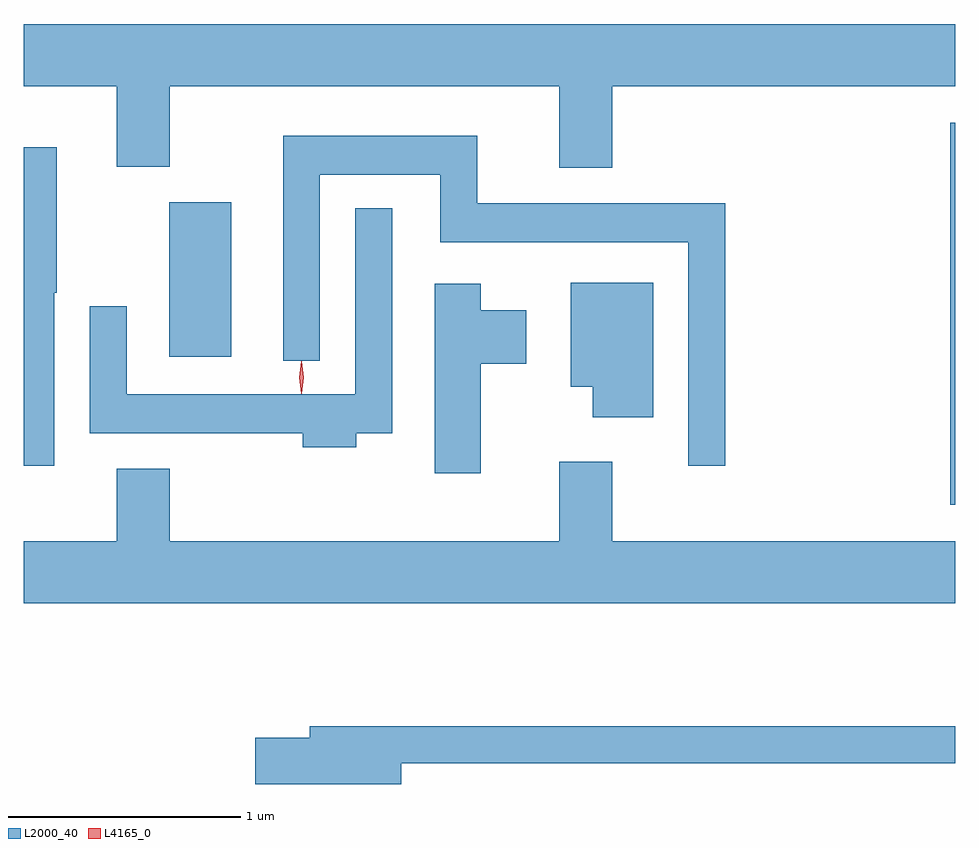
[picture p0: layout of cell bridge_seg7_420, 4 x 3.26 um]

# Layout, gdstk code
import gdstk
lib = gdstk.Library(unit=1e-6, precision=1e-09)
def R(c, l, rs):  # rectangles x0, y0, x1, y1
    for r in rs: c.add(gdstk.rectangle(r[:2], r[2:], *l))
def P(c, l, *ps):  # polygons
    for p in ps: c.add(gdstk.Polygon(p, *l))
L2000_40 = (2000, 40)
L4165_0 = (4165, 0)

bridge_seg7_420 = lib.new_cell('bridge_seg7_420')
R(bridge_seg7_420, L2000_40, [(1151.761,1712.521,1151.782,1714.159), (1148.406,1713.156,1148.674,1713.819)])
P(bridge_seg7_420, L2000_40, [(1150.309,1714.316),(1151.782,1714.316),(1151.782,1714.584),(1147.782,1714.584),(1147.782,1714.316),(1148.181,1714.316),(1148.181,1713.971),(1148.409,1713.971),(1148.409,1714.316),(1150.081,1714.316),(1150.081,1713.966),(1150.309,1713.966)],
  [(1150.794,1713.814),(1149.729,1713.814),(1149.729,1714.104),(1148.896,1714.104),(1148.896,1713.138),(1149.054,1713.138),(1149.054,1713.936),(1149.571,1713.936),(1149.571,1713.646),(1150.636,1713.646),(1150.636,1712.688),(1150.794,1712.688)],
  [(1147.914,1713.43),(1147.924,1713.43),(1147.924,1714.054),(1147.782,1714.054),(1147.782,1712.688),(1147.914,1712.688)],
  [(1149.209,1712.826),(1149.364,1712.826),(1149.364,1713.793),(1149.206,1713.793),(1149.206,1712.994),(1148.224,1712.994),(1148.224,1713.373),(1148.066,1713.373),(1148.066,1712.826),(1148.981,1712.826),(1148.981,1712.766),(1149.209,1712.766)],
  [(1150.484,1713.474),(1150.131,1713.474),(1150.131,1713.026),(1150.226,1713.026),(1150.226,1712.896),(1150.484,1712.896)],
  [(1149.744,1713.126),(1149.939,1713.126),(1149.939,1713.354),(1149.744,1713.354),(1149.744,1713.469),(1149.546,1713.469),(1149.546,1712.656),(1149.744,1712.656)],
  [(1151.782,1712.364),(1150.309,1712.364),(1150.309,1712.704),(1150.081,1712.704),(1150.081,1712.364),(1148.409,1712.364),(1148.409,1712.674),(1148.181,1712.674),(1148.181,1712.364),(1147.782,1712.364),(1147.782,1712.096),(1151.782,1712.096)],
  [(1149.404,1711.411),(1151.782,1711.411),(1151.782,1711.569),(1149.011,1711.569),(1149.011,1711.519),(1148.776,1711.519),(1148.776,1711.321),(1149.404,1711.321)])
P(bridge_seg7_420, L4165_0, [(1148.975,1712.999),(1148.974,1713),(1148.965,1713.066),(1148.974,1713.132),(1148.975,1713.133),(1148.975,1713.132),(1148.985,1713.066),(1148.975,1713)],
  [(1148.974,1712.997),(1148.965,1713.066),(1148.974,1713.136),(1148.975,1713.136),(1148.975,1713.136),(1148.985,1713.066),(1148.975,1712.997),(1148.975,1712.997)])

lib.write_gds('bridge_seg7_420.gds')
